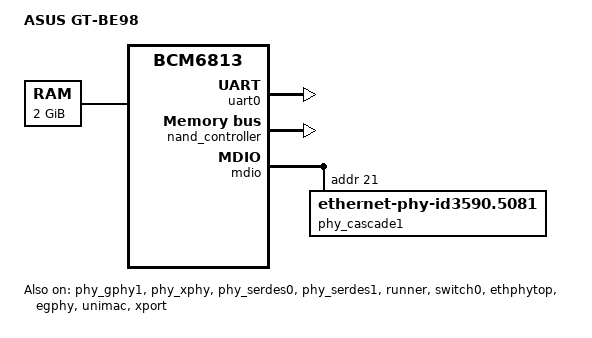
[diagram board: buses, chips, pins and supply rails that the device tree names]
// SPDX-License-Identifier: (GPL-2.0+ OR MIT)
/*
 * gt-be98.dts - ASUS GT-BE98 (Broadcom BCM4916 / "bcm6813")
 *
 * Board-level device tree for the gt-be98-open-ethernet effort.
 *
 * REBASED (2026-06) onto the UPSTREAM mainline SoC dtsi:
 *   - dts/bcm6813.dtsi      : VERBATIM copy of mainline
 *                             arch/arm64/boot/dts/broadcom/bcmbca/bcm6813.dtsi
 *                             (CPUs/PSCI, GIC-400, arch timer, PMU, clocks,
 *                              PL011 uart0, hsspi, nand). BCM4916 == BCM6813 die.
 *   - dts/bcm4916-enet.dtsi : our open Ethernet/switch/MDIO/PHY/MAC/Runner
 *                             overlay (none of this is in upstream).
 *   - this file             : GT-BE98 board specifics (model/memory/chosen) +
 *                             enabling the four wired ports and their PHYs.
 *
 * When built in-tree, replace the bcm6813.dtsi include with the in-tree path;
 * the vendored copy exists so this builds standalone with cpp+dtc.
 *
 * Topology (all [FDT]+[SDK] confirmed, see re-notes/bcm4916-regmap.md and the
 * 4916 SDK GT-BE98.dts):
 *   wan = eth0 : SF2 port#5, XPORT -> external 10G BCM84891 @ MDIO 9
 *   lan = eth1 : SF2 port#6, XPORT -> serdes0, 10GBase-R fixed-link @ MDIO 7
 *   lan = eth2 : SF2 port#1, UNIMAC gmii -> internal EGPHY @ MDIO 2 (1G)
 *   lan = eth3 : SF2 port#7, XPORT -> serdes1 @ MDIO 8 -> ext PHY @ MDIO 21
 *
 * PUBLIC-SAFE: no real unit MAC, no internal hosts/IPs/paths.
 */

/dts-v1/;

/*
 * BOOT-CRITICAL reserved firmware region (1 MiB @ phys 0).
 * The bootloader leaves ATF/BL31 (the EL3 secure monitor that services PSCI
 * SMC calls, incl. CPU_ON for SMP bringup), the secondary-CPU boot trampoline
 * and the PMC firmware/log resident in low DRAM. Mainline upstream bcm6813.dtsi
 * declares NO reservation, so a full memory@0 = <0 0x80000000> lets Linux clobber
 * ATF -> the first PSCI CPU_ON faults very early (no console). The vendor SDK
 * reserves exactly this via /memreserve/ in kernel/dts/boot_rsvdmem.dtsi:
 *   0x00000:0x04000  16K  secondary-CPU boot
 *   0x04000:0xC0000 752K  ATF/BL31 secure monitor   (ATF FIT load/entry = 0x4000)
 *   0xC0000:0xF0000 192K  PMC firmware
 *   0xF0000:0x100000 64K  PMC firmware log
 * Non-SMC / no-OPTEE build (CONFIG_BRCM_SMC_BASED/BOOT and CONFIG_OPTEE all
 * unset in the 6813 .config) => BOOT_RESERVED = ALWAYS_RESERVED = 0x100000.
 * Source: src-rt-5.04behnd.4916 kernel/dts/boot_rsvdmem.dtsi +
 *         bootloaders/armtf/.../bcm_mem_reserve.h + brcm_simple_aarch64_atf.its
 */
/memreserve/ 0x0000000000000000 0x0000000000100000;

#include "bcm6813.dtsi"
#include "bcm4916-enet.dtsi"

/ {
	model = "ASUS GT-BE98";
	compatible = "asus,gt-be98", "brcm,bcm4916", "brcm,bcm6813", "brcm,bcmbca";

	aliases {
		serial0 = &uart0;
		ethernet0 = &unimac;
	};

	chosen {
		stdout-path = "serial0:115200n8";
		/* console=ttyAMA0,115200 [SDK GT-BE98 bootargs] */
	};

	/*
	 * GT-BE98 ships 2 GiB DDR4 [SDK GT-BE98.dts memcfg: BP_DDR_TOTAL_SIZE_2048MB].
	 * Base 0x0; the bootloader passes the authoritative size/reservations.
	 */
	memory@0 {
		device_type = "memory";
		reg = <0x0 0x0 0x0 0x80000000>;	/* 2 GiB [SDK GT-BE98 BP_DDR_TOTAL_SIZE_2048MB] */
	};

	/*
	 * Same firmware region as the /memreserve/ above, also exposed as a
	 * no-map reserved-memory node so the kernel reserved-memory framework
	 * keeps it out of the linear map / page allocator. no-map => never
	 * mapped cacheable, never handed to Linux (vendor keeps ATF/PMC here).
	 */
	reserved-memory {
		#address-cells = <2>;
		#size-cells = <2>;
		ranges;

		atf_pmc@0 {
			reg = <0x0 0x0 0x0 0x00100000>;	/* 1 MiB: bootcpu+ATF/BL31+PMC [SDK boot_rsvdmem.dtsi] */
			no-map;
		};
	};
};

&uart0 {
	status = "okay";
};

/* ---- NAND (boot device) — OBSERVABILITY LIFELINE -------------------------- *
 * Upstream bcm6813.dtsi ships nand_controller@1800 status="disabled", so a
 * mainline boot has NO MTD device at all -> no UBI -> the /data breadcrumb the
 * trial initramfs writes is impossible (it silently falls back to a tmpfs log
 * that dies with the kernel). That is why trial cycles 01-03 produced ZERO
 * persistent signal regardless of whether mainline reached userspace.
 *
 * Enable it. mainline brcmnand (CONFIG_MTD_NAND_BRCMNAND_BCMBCA=y) binds
 * "brcm,nand-bcm63138"/"brcm,brcmnand-v7.1" and INHERITS the ECC config the
 * bootloader programmed into the controller — so, exactly like the stock GT-BE98
 * DT (which also omits nand-ecc-* on nandcs@0), we specify no ECC properties.
 * Geometry confirmed on silicon: 2 KiB page, 108 B OOB, 128 KiB erase,
 * on-flash BBT.  The fixed-partitions node reproduces the bootloader's
 * mtdparts (loader 2 MiB @0, image 253 MiB @0x200000) so /proc/mtd carries the
 * "image" label the init greps for to ubiattach the UBI that holds /data.
 * [silicon: /proc/mtd + /proc/device-tree/periph/nand + stock cmdline mtdparts]
 */
&nand_controller {
	brcm,wp-not-connected;		/* [upstream bcm96813.dts] */
	status = "okay";
};

&nandcs {
	nand-on-flash-bbt;	/* [stock GT-BE98 nandcs@0] */
	brcm,nand-ecc-use-strap;	/* ECC layout from NAND strap/bootloader — REQUIRED for
					 * mainline brcmnand to bind; the DTSI node carries no ECC
					 * config, the board dts must. [upstream bcm96813.dts] */

	partitions {
		compatible = "fixed-partitions";
		#address-cells = <1>;
		#size-cells = <1>;

		/* mirrors bootloader mtdparts=brcmnand.0:2097152(loader),265289728@2097152(image) */
		partition@0 {
			label = "loader";
			reg = <0x0 0x200000>;	/* 2 MiB U-Boot — read-only, NEVER written */
			read-only;
		};
		partition@200000 {
			label = "image";
			reg = <0x200000 0xfce0000>;	/* 265289728 B: the single UBI (bootfs/rootfs/data) */
		};
	};
};

/* ---- MDIO PHYs ------------------------------------------------------------ */

&mdio {
	status = "okay";
};

/* eth2: internal 1G EGPHY @ MDIO 2 (first-light target). [FDT][SDK] */
&phy_gphy1 {
	status = "okay";
};

/*
 * eth0: external 10G copper PHY (BCM84891) @ MDIO 9 on XPORT mac0.
 * BCM84891 binds mainline drivers/net/phy/bcm84881.c (compatible by PHY id,
 * but add an explicit ethernet-phy-id for clarity). PHY id 0x359050e1 [recon].
 * TODO: confirm bcm84881 driver drives the 84891 variant; the FDT also needs
 * ethphytop xphy0-enabled to release this PHY from reset.
 */
&phy_xphy {
	compatible = "ethernet-phy-id3590.50e1",	/* [recon] BCM84891 */
		     "ethernet-phy-ieee802.3-c45";
	status = "okay";
};

/*
 * eth1: serdes0 10GBase-R, fixed link (no addressable copper PHY).
 * Stock: phy-fixed + config-xfi="10GBase-R" [SDK GT-BE98 phy_serdes0].
 */
&phy_serdes0 {
	/* phy-fixed; config-xfi "10GBase-R" [SDK] - modeled via port fixed-link */
	status = "okay";
};

/*
 * eth3: serdes1 @ MDIO 8 cascaded to an external multigig PHY @ MDIO 21.
 * Add the cascade PHY node on the bus. PHY id 0x35905081 [recon].
 */
&mdio {
	phy_cascade1: ethernet-phy@21 {
		reg = <21>;
		compatible = "ethernet-phy-id3590.5081",	/* [recon] ext multigig PHY */
			     "ethernet-phy-ieee802.3-c45";
		status = "okay";
	};
};

&phy_serdes1 {
	phy-handle = <&phy_cascade1>;	/* serdes1 -> cascade ext PHY @21 [FDT][SDK] */
	status = "okay";
};

/* ---- Runner CPU conduit --------------------------------------------------- */

/*
 * Enable the XRDP Runner CPU-port conduit (the DSA master netdev that fronts
 * switch0's CPU/IMP port). brcm,runner-emulated is inherited from the overlay
 * so this binds against the QEMU Runner model with no proprietary microcode.
 */
&runner {
	status = "okay";
};

/* ---- Switch ports --------------------------------------------------------- */

&switch0 {
	status = "okay";
};

/* eth2 = port#1, internal GPHY, 1G. [FDT][SDK] */
&switch0 {
	ports {
		port@1 {
			label = "eth2";
			status = "okay";
		};

		/* eth0 = port#5, external 10G copper (WAN). [FDT][SDK] */
		port@5 {
			label = "eth0";
			status = "okay";
		};

		/*
		 * eth1 = port#6, serdes0 10GBase-R fixed link. [FDT][SDK]
		 * No addressable copper PHY -> use fixed-link instead of phy-handle.
		 */
		port@6 {
			/delete-property/ phy-handle;
			label = "eth1";
			phy-mode = "10gbase-r";
			status = "okay";
			fixed-link {
				speed = <10000>;
				full-duplex;
			};
		};

		/* eth3 = port#7, serdes1 -> cascade ext multigig PHY @21. [FDT][SDK] */
		port@7 {
			label = "eth3";
			status = "okay";
		};
	};
};

/* ---- Top-level PHY mux / EGPHY power ------------------------------------- */

/*
 * Release the internal EGPHYs and the external xphy from reset.
 * [SDK GT-BE98: &ethphytop { xphy0-enabled; status="okay"; }]
 */
&ethphytop {
	/* xphy0-enabled [SDK] */
	status = "okay";
};

&egphy {
	status = "okay";
};

/* ---- MAC cores ------------------------------------------------------------ */

&unimac {
	/*
	 * Device WAN MAC placeholder. The real per-unit MAC is provisioned by the
	 * bootloader (board NVRAM/OTP); do NOT hardcode a real unit MAC.
	 * 60:cf:84 is the ASUS OUI; the low 3 bytes are zeroed here on purpose.
	 */
	local-mac-address = [60 cf 84 00 00 00];	/* PLACEHOLDER - bootloader overrides */
	status = "okay";
};

&xport {
	status = "okay";
};
